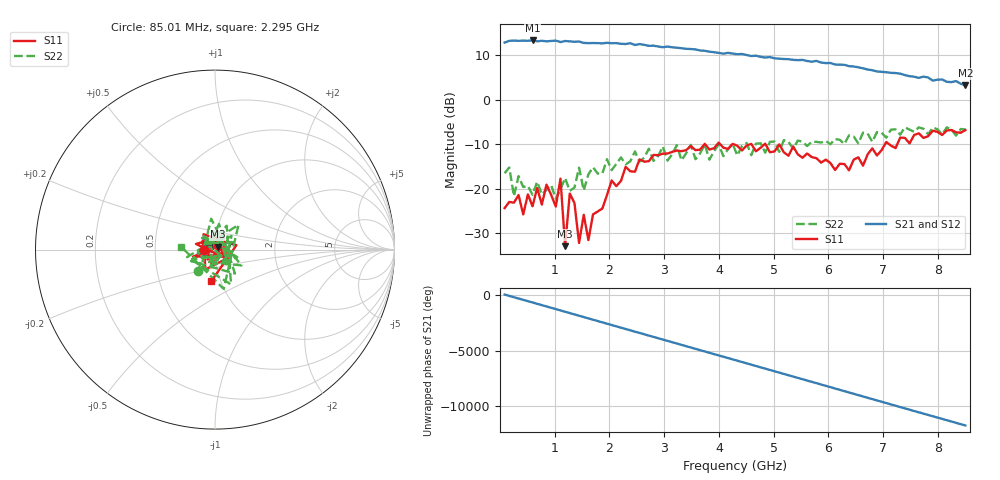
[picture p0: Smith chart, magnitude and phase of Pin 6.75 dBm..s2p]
! RsaToolbox (C) 2013 Rohde & Schwarz America
! Number of points: 101
! Number of ports: 2
! Balanced ports?: 0
# Hz S RI R 50
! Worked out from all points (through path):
!   100 points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, 85.01 MHz to 8.5 GHz, reference 50 ohm
!   highest |S21| = 13.34 dB at 595 MHz (marker M1); lowest = 3.2 dB at 8.5 GHz (marker M2)
!   lowest |S11| = -33.0 dB at 1.19 GHz (marker M3), VSWR 1.05, Z = 51.6 + j1.65 ohm
!   |S11| at or under -10 dB: start of sweep to 3.735 GHz; 4.262 GHz to 4.574 GHz (311.8 MHz wide, 7.06 % of centre); 4.85 GHz to 7.032 GHz (2.182 GHz wide, 36.7 % of centre) (the widest 3 of 7)
!   |S22| runs from -22.3 to -6.2 dB; largest |S21 - S12| = 0
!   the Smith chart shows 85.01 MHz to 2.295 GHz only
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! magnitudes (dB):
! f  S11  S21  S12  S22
! 85.01 MHz  -24.4  12.9  12.9  -16.5
! 170 MHz  -23.0  13.3  13.3  -15.2
! 255 MHz  -23.2  13.3  13.3  -21.7
! 340 MHz  -21.4  13.3  13.3  -17.2
! 425 MHz  -25.8  13.3  13.3  -19.6
! 510 MHz  -21.3  13.3  13.3  -19.4
! 595 MHz  -24.0  13.3  13.3  -21.4
! 850 MHz  -19.1  13.1  13.1  -20.3
! 1.02 GHz  -24.0  13.3  13.3  -22.3
! 1.105 GHz  -17.8  13.0  13.0  -20.1
! 1.19 GHz  -33.0  13.2  13.2  -17.6
! 1.275 GHz  -21.1  13.1  13.1  -20.5
! 1.445 GHz  -32.2  13.1  13.1  -15.3
! 1.53 GHz  -25.9  12.8  12.8  -20.4
! 1.615 GHz  -31.6  12.7  12.7  -16.8
! 2.04 GHz  -18.2  12.7  12.7  -15.8
! 2.89 GHz  -12.5  12.0  12.0  -12.6
! 4.335 GHz  -10.4  10.2  10.2  -12.5
! 5.695 GHz  -12.9  8.6  8.6  -9.5
! 6.375 GHz  -15.9  7.5  7.5  -8.0
! 7.14 GHz  -10.3  6.1  6.1  -6.8
! 8.5 GHz  -6.8  3.2  3.2  -6.7
